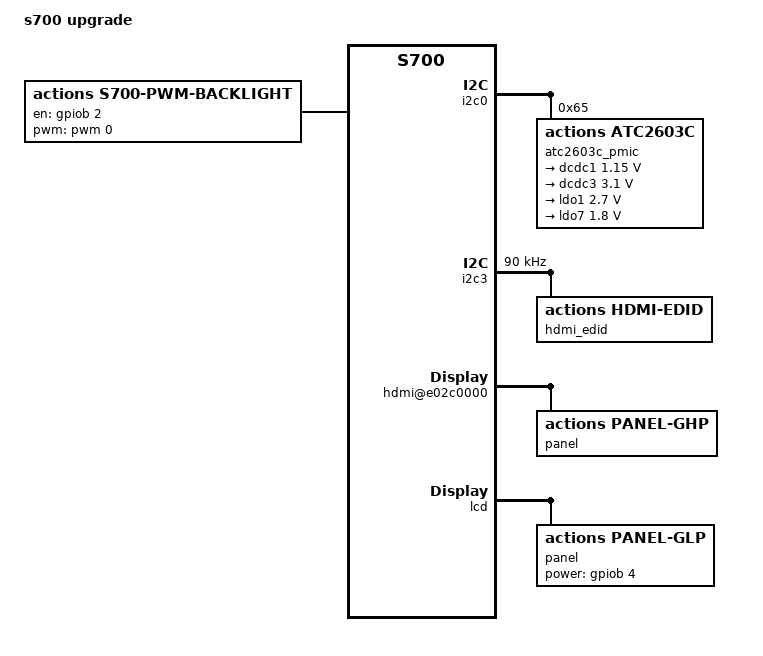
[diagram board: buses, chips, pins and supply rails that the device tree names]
/*
 * Copyright (c) 2015 Actions Semi Co., Ltd.
 *
 * SPDX-License-Identifier:	GPL-2.0+
 */

/dts-v1/;

#include "s700.dtsi"

/ {
	model = "s700 upgrade";
	compatible = "actions,s700_upgrade", "actions,s700";

	chosen {
		stdout-path = &serial5;
	};

	clock:e0168000 {
		compatible = "actions,owl-clk";
		core_pll = <600>;
		dev_pll = <600>;
		display_pll = <720>;
	};

	pwm: pwm@e01b0000 {
		pwm0 {
			id = <0>;
			mfp = <0>;
		};

		pwm1 {
			id = <1>;
			mfp = <0>;
		};

		pwm2 {
			id = <2>;
			mfp = <0>;
		};
	};

	xhci@e0400000 {
		actions,vbus-gpio = <&gpioc 14 0>;  /* GPIOC14,  1: low active; 0: high active */
	};

	i2c0: i2c@e0170000 {
		#address-cells = <1>;
		#size-cells = <1>;
		atc2603c_pmic {
			compatible = "actions,atc2603c";
			reg = <0x65 1>;


			total_steps = <2625>;
			pwms_gpu = <&pwm 1 2625 0>;
			vdd_gpu = <485>;
			vdd_core = <490>;
			pwms_core = <&pwm 2 2625 0>;
			atc2603c_pstore {
				compatible = "actions,atc2603c-pstore";
			};

			voltage-regulators {
				dcdc1: dcdc1 {
					regulator-name = "dcdc1";
					regulator-min-microvolt = <1150000>;
					regulator-max-microvolt = <1150000>;
					regulator-always-on;
				};

				dcdc3: dcdc3 {
					regulator-name = "dcdc3";
					regulator-min-microvolt = <3100000>;
					regulator-max-microvolt = <3100000>;
					regulator-always-on;
				};

				ldo1: ldo1{
					regulator-name = "ldo1";
					regulator-min-microvolt  = <2700000>;
					regulator-max-microvolt = <2700000>;
					regulator-always-on;
				};


			ldo7: ldo7{
				regulator-name = "ldo7";
				regulator-min-microvolt  = <1800000>;
				regulator-max-microvolt = <1800000>;
				regulator-always-on;
			};
		};

		atc2603c-battery{
			compatible = "actions,atc2603c-battery";
			capacity = <2000>;/*unit:mAh*/
			shutdown_current = <50>;/*unit:ua*/
		};
		atc2603c-charger{
			compatible = "actions,atc2603c-charger";
			rsense = <20>;/*unit:mohm*/
			support_adaptor_type = <3>; /*1: DCIN  2: USB  3:DCIN+USB*/
			usb_pc_ctl_mode = <1>; /*0:disable vbus ctl;1:current limited;2:voltage limited*/

		};

		};
	};

	i2c3: i2c@e017c000 {
		clock-frequency = <90000>;
		hdmi_edid {
			compatible = "actions,hdmi-edid";
		};
	};

	hdmi@e02c0000 {
		channel_invert = <1>;
		bit_invert = <0>;

		panel@ghp {
			compatible = "actions,panel-ghp";

			is_primary = <0>;

			draw_width = <1920>;
			draw_height = <1080>;

			videomode-0 = <&default_mode>;

			/* default mode used when EDID read error */
			default_mode: videomode {
				refresh_rate = <60>;

				xres = <1280>;
				yres = <720>;
			};
		};
	};


	backlight {
		compatible = "actions,s700-pwm-backlight";

		/* GPIOA20, active high */
		en-gpios = <&gpiob 2 0>;

		/*1.pwm num; 2. period in ns; */
		/*3.plarity, 0: high active, 1: low active*/
		pwms = <&pwm 0 50000 1>;

		total_steps = <1024>;
		min_brightness = <100>;
		max_brightness = <1000>;
		dft_brightness = <500>;

		delay_bf_pwm = <0>; /*in ms*/
		delay_af_pwm = <20>; /*in ms*/
	};

	lcd: lcd@e02a0000 {

		panel_configs = <&config0>;
		/*
		 * lcd_configs, used to configure lcd controller,
		 * its values should set according to lcd panel's spec.
		 * Currently, the configration is for fpga panel.
		 */
		config0: lcd_configs {
			port_type = <2>;	/* 0, RGB; 1, CPU; 2, LVDS; 3, EDP */

			vsync_inversion = <0>;
			hsync_inversion = <0>;
			dclk_inversion = <1>;
			lde_inversion = <0>;

			pclk_parent = <0>;	/* 0, DISPLAY PLL; 1, NAND PLL */
			pclk_rate = <72000000>;/* 72MHz, DISPLAY PLL, divider 10 */
		};

		/* lcd panel */
		panel@glp {
			compatible = "actions,panel-glp";

			/* panel's fixed info */
			width_mm = <197>;
			height_mm = <147>;
			bpp = <24>;

			is_primary = <1>;

			/* operation delay in ms */
			power_on_delay = <0>;
			power_off_delay = <0>;
			enable_delay = <0>;
			disable_delay = <0>;

			power-gpio = <&gpiob 4 0>;/* GPIOA23, high power on */

			videomode-0 = <&mode0>;

			/* 800x1280p60 */
			mode0: videomode {
				refresh_rate = <60>;

				xres = <800>;
				yres = <1280>;
				/*
				 * pclk_rate = 66M
				 * pixel_clock = picoseconds / pclk_rate
				 */
				pixel_clock = <15152>;

				hsw = <12>;
				hbp = <20>;
				hfp = <40>;

				vsw = <2>;
				vbp = <10>;
				vfp = <33>;

				/* 0: FB_VMODE_NONINTERLACED, 1:FB_VMODE_INTERLACED */
				vmode = <0>;
			};
		};
	};

};
